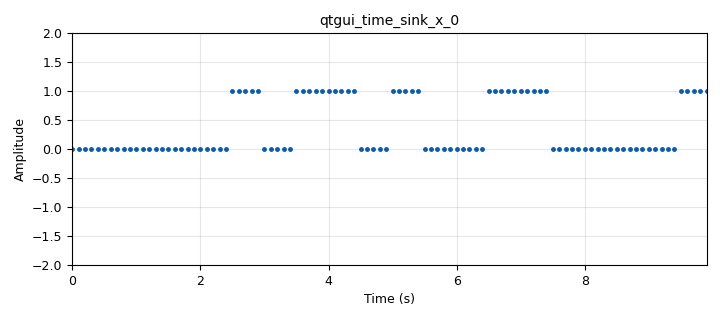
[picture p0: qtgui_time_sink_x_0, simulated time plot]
options:
  parameters:
    generate_options: qt_gui
    id: Rates
    output_language: python
    title: Rates
  states: {}

blocks:
- name: samp_rate
  id: variable
  parameters:
    value: '10'
  states: {}
- name: blocks_repeat_0
  id: blocks_repeat
  parameters:
    interp: '5'
    type: float
  states: {}
- name: blocks_vector_source_x_0
  id: blocks_vector_source_x
  parameters:
    repeat: 'True'
    type: float
    vector: '[0, 1, 0, 1, 1, 0, 1, 0, 0, 1, 1, 0, 0, 0, 0, 1, 0, 0, 0, 0, 0]'
  states: {}
- name: qtgui_time_sink_x_0
  id: qtgui_time_sink_x
  parameters:
    marker1: '0'
    size: '100'
    srate: samp_rate
    style1: '0'
    type: float
    ymax: '2'
    ymin: '-2'
  states: {}

connections:
- [blocks_repeat_0, '0', qtgui_time_sink_x_0, '0']
- [blocks_vector_source_x_0, '0', blocks_repeat_0, '0']

metadata:
  file_format: 1
